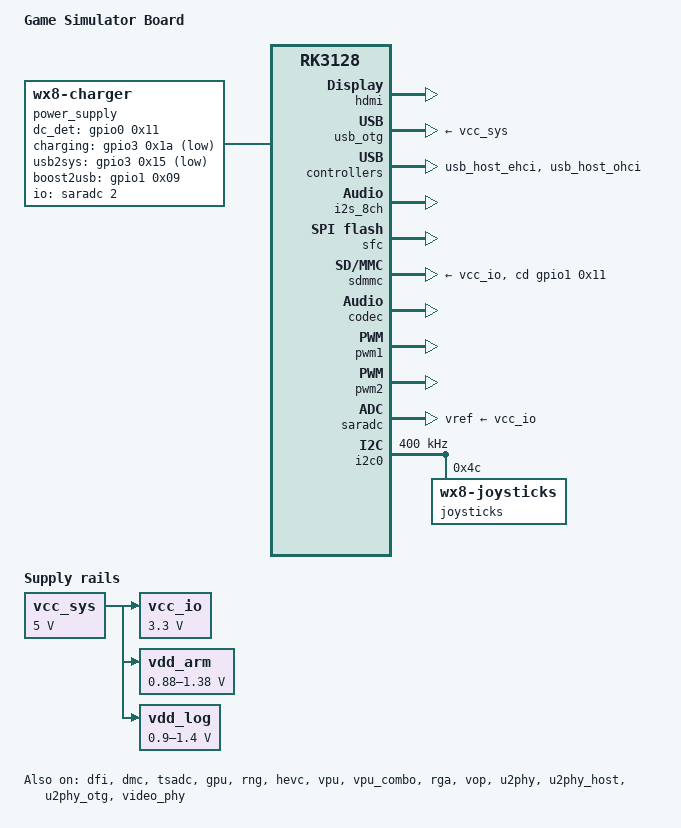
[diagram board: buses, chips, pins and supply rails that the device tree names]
/*
 * (C) Copyright 2017 Rockchip Electronics Co., Ltd
 *
 * SPDX-License-Identifier:     GPL-2.0+
 */

#include <dt-bindings/display/drm_mipi_dsi.h>

/dts-v1/;

#include "rk3128.dtsi"

/ {
	model = "Game Simulator Board";
	compatible = "rockchip,rk3128-gamesim", "rockchip,rk3128";

	chosen {
		stdout-path = &uart0;
		bootargs = "earlycon=uart8250,mmio32,0x20060000 rootwait console=ttyFIQ0,115200n8 swiotlb=1 root=PARTUUID=fd800c6c-2fdb-4502-82cb-e61f66b9a221";
	};

	vcc_sys: vcc-sys {	// from USB OTG or from battery
		compatible = "regulator-fixed";
		regulator-name = "vcc_sys";
		regulator-always-on;
		regulator-boot-on;
		regulator-min-microvolt = <5000000>;
		regulator-max-microvolt = <5000000>;
	};

	vcc_io: vcc-io {
		compatible = "regulator-fixed";
		regulator-name = "vcc_io";
		regulator-min-microvolt = <3300000>;
		regulator-max-microvolt = <3300000>;
		regulator-always-on;
		regulator-boot-on;
		vin-supply = <&vcc_sys>;
	};

	vdd_arm: vdd-arm {
		compatible = "pwm-regulator";
		pwms = <&pwm1 0 5000 0>;
		regulator-name = "vdd_arm";
		regulator-min-microvolt = <880000>;
		regulator-max-microvolt = <1380000>;
		regulator-init-microvolt = <1100000>;
		regulator-early-min-microvolt = <1100000>;
		regulator-always-on;
		regulator-boot-on;
		pwm-supply = <&vcc_sys>;
		pwm-dutycycle-range = <100 0>;
		pwm-dutycycle-unit = <100>;
	};

	vdd_log: vdd-log {
		compatible = "pwm-regulator";
		pwms = <&pwm2 0 5000 0>;
		regulator-name = "vdd_log";
		regulator-min-microvolt = <900000>;
		regulator-max-microvolt = <1400000>;
		regulator-init-microvolt = <1100000>;
		regulator-early-min-microvolt = <1100000>;
		regulator-always-on;
		regulator-boot-on;
		pwm-supply = <&vcc_sys>;
		pwm-dutycycle-range = <100 0>;
		pwm-dutycycle-unit = <100>;
	};

	fiq-debugger {
		compatible = "rockchip,fiq-debugger";
		rockchip,serial-id = <0>;
		rockchip,wake-irq = <159>;
		pinctrl-0 = <&uart0_xfer>;
		pinctrl-names = "default";
		rockchip,irq-mode-enable = <1>;
		rockchip,baudrate = <115200>;
		status = "okay";
	};

	reserved-memory {
		#address-cells = <0x01>;
		#size-cells = <0x01>;
		ranges;

		drm_logo: drm-logo@00000000 {
			compatible = "rockchip,drm-logo";
			reg = <0x00 0x00>;
		};
	};

	sound: sound {
		compatible = "simple-audio-card";
		simple-audio-card,format = "i2s";
		simple-audio-card,mclk-fs = <0x100>;
		simple-audio-card,name = "rockchip,rk312x-codec";
		simple-audio-card,routing = "Headphone Jack", "HiFi Playback";
		simple-audio-card,widgets = "Headphone", "Headphone Jack";

		simple-audio-card,dai-link@0 {
			format = "i2s";

			codec {
				sound-dai = <&codec>;
			};

			cpu {
				sound-dai = <&i2s_8ch>;
			};
		};

		simple-audio-card,dai-link@1 {
			format = "i2s";

			codec {
				sound-dai = <&hdmi>;
			};

			cpu {
				sound-dai = <&i2s_8ch>;
			};
		};
	};

	power_supply: power-supply {
		compatible = "wx8-charger";

		pinctrl-0 = <&charging_gpio &dc_det_gpio &usb2sys_gpio &boost2usb_gpio>;
		pinctrl-names = "default";

		dc_det_gpio = <&gpio0 0x11 GPIO_ACTIVE_HIGH>;	// input, works only when usb2sys_gpio
		charging_gpio = <&gpio3 0x1a GPIO_ACTIVE_LOW>;	// input, /CHRG output from TP4056

		// both output cannot be active in same time (eg. LOW-LOW or HIGH-HIGH is allowed), beaware loop boost->usb->sys->boost
		usb2sys_gpio = <&gpio3 0x15 GPIO_ACTIVE_LOW>;	// output, power switch "vcc_usb" -> "vcc_sys" & "vcc_charger"
		boost2usb_gpio = <&gpio1 0x09 GPIO_ACTIVE_HIGH>;// output, power switch "vcc_booster" -> vcc_usb"

		io-channels = <&saradc 2>;
		ref_voltage = <3300>; 		// mV, from saradc -> vref-supply -> ?
		voltage_divider = <200 200>; 	// adc resistor divider

		extcon = <&u2phy>;
	};
};

&cpu0 {
	cpu-supply = <&vdd_arm>;
};

&cpu0_opp_table {
	opp-1008000000 {
		clock-latency-ns = <40000>;
		opp-hz = /bits/ 64 <1008000000>;
		opp-microvolt = <1200000 1200000 1380000>;
		opp-microvolt-L0 = <1200000 1200000 1380000>;
		opp-microvolt-L1 = <1175000 1175000 1380000>;
		opp-microvolt-L2 = <1225000 1225000 1380000>;
	};

	opp-1200000000 {
		clock-latency-ns = <40000>;
		opp-hz = /bits/ 64 <1200000000>;
		opp-microvolt = <1325000 1325000 1380000>;
		opp-microvolt-L0 = <1325000 1325000 1380000>;
		opp-microvolt-L1 = <1300000 1300000 1380000>;
		opp-microvolt-L2 = <1375000 1375000 1380000>;
	};

	opp-216000000 {
		clock-latency-ns = <40000>;
		opp-hz = /bits/ 64 <216000000>;
		opp-microvolt = <925000 925000 1380000>;
		opp-microvolt-L0 = <925000 925000 1380000>;
		opp-microvolt-L1 = <925000 925000 1380000>;
		opp-microvolt-L2 = <950000 950000 1380000>;
	};

	opp-408000000 {
		clock-latency-ns = <40000>;
		opp-hz = /bits/ 64 <408000000>;
		opp-microvolt = <950000 950000 1380000>;
		opp-microvolt-L0 = <950000 950000 1380000>;
		opp-microvolt-L1 = <925000 925000 1380000>;
		opp-microvolt-L2 = <950000 950000 1380000>;
	};

	opp-600000000 {
		clock-latency-ns = <40000>;
		opp-hz = /bits/ 64 <600000000>;
		opp-microvolt = <975000 975000 1380000>;
		opp-microvolt-L0 = <975000 975000 1380000>;
		opp-microvolt-L1 = <950000 950000 1380000>;
		opp-microvolt-L2 = <975000 975000 1380000>;
	};

	opp-696000000 {
		clock-latency-ns = <40000>;
		opp-hz = /bits/ 64 <696000000>;
		opp-microvolt = <1000000 1000000 1380000>;
		opp-microvolt-L0 = <1000000 1000000 1380000>;
		opp-microvolt-L1 = <975000 975000 1380000>;
		opp-microvolt-L2 = <1050000 1050000 1380000>;
	};

	opp-816000000 {
		clock-latency-ns = <40000>;
		opp-hz = /bits/ 64 <816000000>;
		opp-microvolt = <1075000 1075000 1380000>;
		opp-microvolt-L0 = <1075000 1075000 1380000>;
		opp-microvolt-L1 = <1050000 1050000 1380000>;
		opp-microvolt-L2 = <1100000 1100000 1380000>;
		opp-suspend;
	};
};

&dfi {
	status = "okay";
};

&dmc {
	status = "okay";
	center-supply = <&vdd_log>;
	vop-dclk-mode = <1>;
};

&soc_thermal {
	trips {
		soc_crit: soc-crit {
			hysteresis = <2000>;
			temperature = <115000>;
			type = "critical";
		};
	};
};

&tsadc {
	status = "okay";
};

&gpu {
	status = "okay";
	mali-supply = <&vdd_log>;
};

&rng {
	status = "okay";
};

&hevc {
	status = "okay";
};

&hevc_mmu {
	status = "okay";
};

&vpu {
	status = "okay";
};

&vpu_mmu {
	status = "okay";
};

&vpu_combo {
	status = "okay";
};

&rga  {
	status = "okay";
};

&vop {
	status = "okay";
};

&vop_mmu {
	status = "okay";
};

&hdmi {
	status = "okay";
};

&usb_otg {
	status = "okay";
	vbus-supply = <&vcc_sys>;
};

&usb_host_ehci {
	status = "okay";
};

&usb_host_ohci {
	status = "okay";
};

&i2s_8ch  {
	status = "okay";
	#sound-dai-cells = <0>;
};

&sfc {
	status = "okay";
};

&sdmmc {
	status = "okay";

	supports-sd;
	broken-cd;

	card-detect-delay = <200>;
	ignore-pm-notify;
	keep-power-in-suspend;
	vmmc-supply = <&vcc_io>;
	vqmmc-supply = <&vcc_io>;

	cd-gpios = <&gpio1 0x11 0x00>;

	cap-mmc-highspeed;
	cap-sd-highspeed;

	clock-frequency = <37500000>;
	max-frequency = <37500000>;
	num-slots = <1>;
};

&u2phy {
	status = "okay";
};

&u2phy_host {
	status = "okay";
};

&u2phy_otg {
	status = "okay";
};

&codec {
	status = "okay";

	#sound-dai-cells = <0>;
	capture_volume = <0x1a>;
	codec_hp_det = <1>;
	gpio_debug = <1>;

	hp-mute-delay = <0x05>;
	hp_volume = <0x19>;

	spk-ctl-gpios = <&gpio1 0x03 0x00>;
	spk-mute-delay = <0x05>;
	spk_volume = <0x19>;

	rk312x_for_mid = <0>;
	is_rk3128 = <1>;
};

&video_phy {
	status = "okay";
};

&pwm1 {
	status = "okay";
};

&pwm2 {
	status = "okay";
};

&saradc {
	status = "okay";
	vref-supply = <&vcc_io>;
};

&i2c0 {
	status = "okay";

	clock-frequency = <400000>;

	i2c-scl-falling-time-ns = <0x0b>;
	i2c-scl-rising-time-ns = <0x109>;

	joysticks: i2cjoy@4c {
		compatible = "wx8-joysticks";
		reg = <0x4c>;
	};
};


&pinctrl {
	lcdc {
		lcd_enable: lcd-enable {
			rockchip,pins = <RK_GPIO1 RK_PB4 0 &pcfg_pull_none>;
		};

		lcd_reset: lcd-reset {
			rockchip,pins = <RK_GPIO0 RK_PD0 0 &pcfg_pull_none>;
		};
	};

	buttons {

		game_keys: game-keys {
			rockchip,pins = <RK_GPIO1 0x04 0x00 &pcfg_pull_default
					 RK_GPIO1 0x05 0x00 &pcfg_pull_default
					 RK_GPIO0 0x08 0x00 &pcfg_pull_default
					 RK_GPIO0 0x09 0x00 &pcfg_pull_default
					 RK_GPIO0 0x0b 0x00 &pcfg_pull_default
					 RK_GPIO0 0x0c 0x00 &pcfg_pull_default
					 RK_GPIO0 0x0d 0x00 &pcfg_pull_default
					 RK_GPIO0 0x0e 0x00 &pcfg_pull_default
					 RK_GPIO1 0x08 0x00 &pcfg_pull_default
					 RK_GPIO1 0x0a 0x00 &pcfg_pull_default
					 RK_GPIO1 0x0b 0x00 &pcfg_pull_default
					 RK_GPIO3 0x16 0x00 &pcfg_pull_default
					 RK_GPIO3 0x17 0x00 &pcfg_pull_default
					 RK_GPIO3 0x1b 0x00 &pcfg_pull_default
					 RK_GPIO1 0x01 0x00 &pcfg_pull_default
					 RK_GPIO1 0x02 0x00 &pcfg_pull_default
					 >;
		};
	};

	power {
		charging_gpio: charging-gpio {
			rockchip,pins = <RK_GPIO3 0x1a 0x00 &pcfg_pull_default>;
		};

		usb2sys_gpio: usb2sys-gpio {
			rockchip,pins = <RK_GPIO3 0x15 0x00 &pcfg_pull_default>;
		};

		boost2usb_gpio: boost2usb-gpio {
			rockchip,pins = <RK_GPIO1 0x09 0x00 &pcfg_pull_default>;
		};

		dc_det_gpio: dc-det-gpio {
			rockchip,pins = <RK_GPIO0 0x11 0x00 &pcfg_pull_default>;
		};
	};

	unresolved {
		// now over /sys/class/gpio/
		boosters_enable: boosters-enable {
			rockchip,pins = <RK_GPIO2 0x1d 0x00 &pcfg_pull_default>;
		};

		// unknown driver compatible = "rockchip,rk3126-usb-control"
		host_drv_gpio: host-drv-gpio {
			rockchip,pins = <RK_GPIO3 0x14 0x00 &pcfg_pull_default>;
		};

		// unknown driver function in original driver compatible = "rk30-adc-battery"
		chg_en: chg-en {
			rockchip,pins = <RK_GPIO3 0x11 0x00 &pcfg_pull_default>;
		};

		// unknown driver function in original driver compatible = "rk30-adc-battery"
		led_power_gpio: led-power-gpio {
			rockchip,pins = <RK_GPIO1 0x07 0x00 &pcfg_pull_default>;
		};
	};
};
